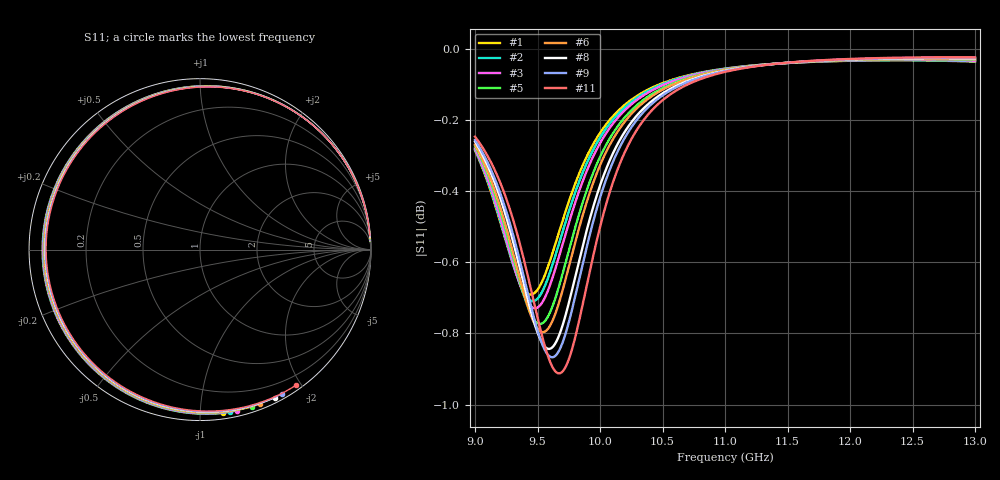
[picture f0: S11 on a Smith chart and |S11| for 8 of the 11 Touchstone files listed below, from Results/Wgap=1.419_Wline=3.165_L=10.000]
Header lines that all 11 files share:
! TOUCHSTONE file generated by CST DESIGN STUDIO
! Project name: C:\Work\MatlabApps\UnitCellOptimizationMatlab\CST\unitcell.cst
! Tree item: Tasks\Sweep1\SPara1\S-Parameters
! Header version: 2024
! Port assignment regex: !\s*Touchstone port\s*([0-9]+)\s*=\s*(CST MWS port|CST DES external port|CST DES block port)\s*(.+)\s* \(\"(.*)\"\)(\s*mode\s*([0-9]+))?.*
! Touchstone port assignment:
! Touchstone port 1 = CST DES external port 1 ("")
# GHz S MA R 50
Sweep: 9 GHz to 13 GHz
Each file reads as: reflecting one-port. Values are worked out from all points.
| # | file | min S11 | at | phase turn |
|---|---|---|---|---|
| 1 | DS_for_MWS-run-0001.s1p | -0.7 dB | 9.446 GHz | -275 deg |
| 2 | DS_for_MWS-run-0002.s1p | -0.7 dB | 9.462 GHz | -277 deg |
| 3 | DS_for_MWS-run-0003.s1p | -0.7 dB | 9.48 GHz | -280 deg |
| 4 | DS_for_MWS-run-0004.s1p | -0.8 dB | 9.499 GHz | -282 deg |
| 5 | DS_for_MWS-run-0005.s1p | -0.8 dB | 9.52 GHz | -285 deg |
| 6 | DS_for_MWS-run-0006.s1p | -0.8 dB | 9.543 GHz | -287 deg |
| 7 | DS_for_MWS-run-0007.s1p | -0.8 dB | 9.566 GHz | -290 deg |
| 8 | DS_for_MWS-run-0008.s1p | -0.8 dB | 9.591 GHz | -293 deg |
| 9 | DS_for_MWS-run-0009.s1p | -0.9 dB | 9.617 GHz | -295 deg |
| 10 | DS_for_MWS-run-0010.s1p | -0.9 dB | 9.644 GHz | -298 deg |
| 11 | DS_for_MWS-run-0011.s1p | -0.9 dB | 9.672 GHz | -301 deg |
